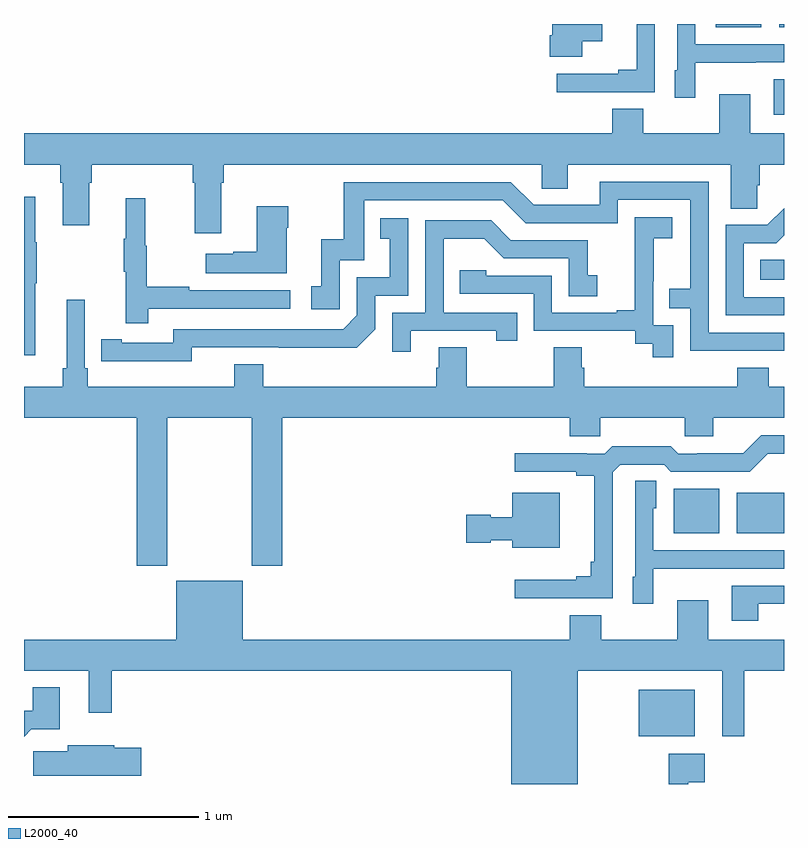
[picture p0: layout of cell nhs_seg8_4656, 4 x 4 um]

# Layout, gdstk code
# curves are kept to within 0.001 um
import gdstk
lib = gdstk.Library(unit=1e-6, precision=1e-09)
def R(c, l, rs):  # rectangles x0, y0, x1, y1
    for r in rs: c.add(gdstk.rectangle(r[:2], r[2:], *l))
def P(c, l, *ps):  # polygons
    for p in ps: c.add(gdstk.Polygon(p, *l))
L2000_40 = (2000, 40)

nhs_seg8_4656 = lib.new_cell('nhs_seg8_4656')
R(nhs_seg8_4656, L2000_40, [(396.236,1120.151,396.529,1120.396), (396.419,1121.219,396.658,1121.455), (396.752,1121.219,397,1121.434), (396.874,1122.554,397,1122.658), (396.947,1123.422,397,1123.608), (396.641,1123.883,396.88,1123.9), (396.974,1123.883,397,1123.9)])
P(nhs_seg8_4656, L2000_40, [(396.534,1123.697),(396.851,1123.697),(396.851,1123.698),(397,1123.698),(397,1123.794),(396.534,1123.794),(396.534,1123.9),(396.438,1123.9),(396.438,1123.656),(396.425,1123.656),(396.425,1123.512),(396.534,1123.512)],
  [(395.938,1123.808),(396.043,1123.808),(396.043,1123.9),(395.78,1123.9),(395.78,1123.84),(395.768,1123.84),(395.768,1123.728),(395.938,1123.728)],
  [(396.321,1123.9),(396.224,1123.9),(396.224,1123.658),(396.128,1123.658),(396.128,1123.638),(395.805,1123.638),(395.805,1123.542),(396.321,1123.542)],
  [(394.039,1123.064),(394.052,1123.064),(394.052,1123.16),(395.724,1123.16),(395.724,1123.033),(395.863,1123.033),(395.863,1123.16),(396.719,1123.16),(396.719,1122.928),(396.858,1122.928),(396.858,1123.051),(396.872,1123.051),(396.872,1123.16),(397,1123.16),(397,1123.324),(396.823,1123.324),(396.823,1123.531),(396.659,1123.531),(396.659,1123.324),(396.259,1123.324),(396.259,1123.453),(396.095,1123.453),(396.095,1123.324),(393,1123.324),(393,1123.16),(393.191,1123.16),(393.191,1123.064),(393.203,1123.064),(393.203,1122.84),(393.343,1122.84),(393.343,1123.064),(393.356,1123.064),(393.356,1123.16),(393.887,1123.16),(393.887,1123.064),(393.899,1123.064),(393.899,1122.798),(394.039,1122.798)],
  [(397,1122.276),(396.603,1122.276),(396.603,1123.071),(396.029,1123.071),(396.029,1122.948),(395.682,1122.948),(395.562,1123.068),(394.683,1123.068),(394.683,1122.766),(394.565,1122.766),(394.565,1122.519),(394.512,1122.519),(394.512,1122.399),(394.662,1122.399),(394.662,1122.657),(394.791,1122.657),(394.791,1122.972),(395.52,1122.972),(395.64,1122.852),(396.126,1122.852),(396.126,1122.975),(396.507,1122.975),(396.507,1122.506),(396.397,1122.506),(396.397,1122.405),(396.507,1122.405),(396.507,1122.18),(397,1122.18)],
  [(393.058,1122.535),(393.066,1122.535),(393.066,1122.752),(393.058,1122.752),(393.058,1122.991),(393,1122.991),(393,1122.156),(393.058,1122.156)],
  [(393.653,1122.402),(394.402,1122.402),(394.402,1122.498),(393.869,1122.498),(393.869,1122.518),(393.646,1122.518),(393.646,1122.732),(393.638,1122.732),(393.638,1122.982),(393.536,1122.982),(393.536,1122.769),(393.525,1122.769),(393.525,1122.595),(393.536,1122.595),(393.536,1122.324),(393.653,1122.324)],
  [(394.384,1122.827),(394.392,1122.827),(394.392,1122.94),(394.226,1122.94),(394.226,1122.701),(394.1,1122.701),(394.1,1122.691),(393.957,1122.691),(393.957,1122.587),(394.384,1122.587)],
  [(397,1122.462),(396.789,1122.462),(396.789,1122.747),(396.958,1122.747),(397,1122.789),(397,1122.931),(396.912,1122.843),(396.693,1122.843),(396.693,1122.366),(397,1122.366)],
  [(396.417,1122.315),(396.312,1122.315),(396.312,1122.545),(396.314,1122.545),(396.314,1122.773),(396.412,1122.773),(396.412,1122.883),(396.214,1122.883),(396.214,1122.677),(396.215,1122.677),(396.215,1122.394),(396.119,1122.394),(396.119,1122.381),(395.778,1122.381),(395.778,1122.576),(395.433,1122.576),(395.433,1122.603),(395.293,1122.603),(395.293,1122.48),(395.682,1122.48),(395.682,1122.285),(396.216,1122.285),(396.216,1122.217),(396.309,1122.217),(396.309,1122.147),(396.417,1122.147)],
  [(393.882,1122.198),(394.75,1122.197),(394.848,1122.294),(394.848,1122.471),(395.022,1122.471),(395.022,1122.877),(394.876,1122.877),(394.876,1122.771),(394.925,1122.771),(394.925,1122.567),(394.752,1122.567),(394.752,1122.366),(394.68,1122.294),(393.786,1122.294),(393.786,1122.222),(393.514,1122.222),(393.514,1122.242),(393.406,1122.242),(393.406,1122.126),(393.882,1122.125)],
  [(395.035,1122.285),(395.486,1122.285),(395.486,1122.234),(395.597,1122.234),(395.597,1122.381),(395.208,1122.381),(395.208,1122.77),(395.422,1122.77),(395.526,1122.666),(395.868,1122.666),(395.868,1122.468),(396.016,1122.468),(396.016,1122.577),(395.967,1122.577),(395.967,1122.762),(395.563,1122.762),(395.458,1122.867),(395.112,1122.867),(395.112,1122.381),(394.938,1122.381),(394.938,1122.174),(395.035,1122.174)],
  [(393.753,1121.828),(394.198,1121.828),(394.198,1121.049),(394.358,1121.049),(394.358,1121.828),(395.873,1121.828),(395.873,1121.73),(396.033,1121.73),(396.033,1121.828),(396.478,1121.828),(396.478,1121.73),(396.628,1121.73),(396.628,1121.828),(397,1121.828),(397,1121.992),(396.92,1121.992),(396.92,1122.091),(396.755,1122.091),(396.755,1121.992),(395.948,1121.992),(395.948,1122.09),(395.935,1122.09),(395.935,1122.2),(395.788,1122.2),(395.788,1121.992),(395.331,1121.992),(395.331,1122.2),(395.183,1122.2),(395.183,1122.09),(395.171,1122.09),(395.171,1121.992),(394.259,1121.992),(394.259,1122.109),(394.106,1122.109),(394.106,1121.992),(393.335,1121.992),(393.335,1122.088),(393.321,1122.088),(393.321,1122.448),(393.224,1122.448),(393.224,1122.088),(393.205,1122.088),(393.205,1121.992),(393,1121.992),(393,1121.828),(393.593,1121.828),(393.593,1121.049),(393.753,1121.049)],
  [(396.099,1121.541),(396.138,1121.58),(396.369,1121.58),(396.405,1121.544),(396.819,1121.544),(396.914,1121.639),(397,1121.639),(397,1121.736),(396.879,1121.736),(396.785,1121.642),(396.544,1121.642),(396.544,1121.637),(396.444,1121.637),(396.405,1121.677),(396.097,1121.677),(396.057,1121.637),(395.963,1121.637),(395.963,1121.642),(395.583,1121.642),(395.583,1121.544),(395.906,1121.544),(395.906,1121.522),(396.002,1121.522),(396.002,1121.071),(395.983,1121.071),(395.983,1120.994),(395.906,1120.994),(395.906,1120.975),(395.583,1120.975),(395.583,1120.878),(396.099,1120.878)],
  [(396.312,1121.033),(396.629,1121.033),(396.629,1121.034),(397,1121.034),(397,1121.13),(396.312,1121.13),(396.312,1121.352),(396.328,1121.352),(396.328,1121.495),(396.216,1121.495),(396.216,1120.992),(396.203,1120.992),(396.203,1120.848),(396.312,1120.848)],
  [(395.821,1121.434),(395.57,1121.434),(395.57,1121.305),(395.457,1121.305),(395.457,1121.318),(395.328,1121.318),(395.328,1121.171),(395.457,1121.171),(395.457,1121.183),(395.57,1121.183),(395.57,1121.144),(395.821,1121.144)],
  [(395.914,1120.496),(396.674,1120.496),(396.674,1120.152),(396.791,1120.152),(396.791,1120.496),(397,1120.496),(397,1120.66),(396.601,1120.66),(396.601,1120.867),(396.437,1120.867),(396.437,1120.66),(396.037,1120.66),(396.037,1120.789),(395.873,1120.789),(395.873,1120.66),(394.15,1120.66),(394.15,1120.969),(393.8,1120.969),(393.8,1120.66),(393,1120.66),(393,1120.496),(393.341,1120.496),(393.341,1120.275),(393.463,1120.275),(393.463,1120.496),(395.564,1120.496),(395.564,1119.9),(395.914,1119.9)],
  [(396.865,1120.848),(397,1120.848),(397,1120.944),(396.725,1120.944),(396.725,1120.758),(396.865,1120.758)],
  [(393.038,1120.187),(393.187,1120.187),(393.187,1120.408),(393.047,1120.408),(393.047,1120.285),(393,1120.285),(393,1120.149)],
  [(393.616,1120.092),(393.474,1120.092),(393.474,1120.105),(393.231,1120.105),(393.231,1120.073),(393.048,1120.073),(393.048,1119.944),(393.616,1119.944)],
  [(396.497,1119.908),(396.583,1119.908),(396.583,1120.06),(396.394,1120.06),(396.394,1119.9),(396.497,1119.9)])

lib.write_gds('nhs_seg8_4656.gds')
